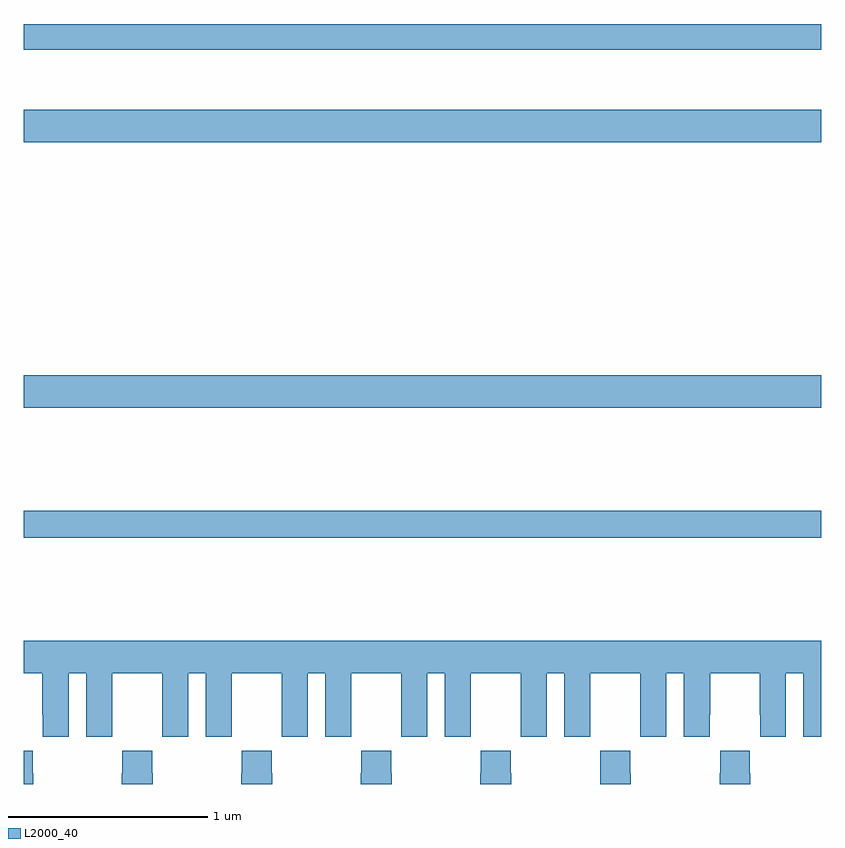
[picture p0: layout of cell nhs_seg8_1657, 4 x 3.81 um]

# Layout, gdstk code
import gdstk
lib = gdstk.Library(unit=1e-6, precision=1e-09)
def R(c, l, rs):  # rectangles x0, y0, x1, y1
    for r in rs: c.add(gdstk.rectangle(r[:2], r[2:], *l))
def P(c, l, *ps):  # polygons
    for p in ps: c.add(gdstk.Polygon(p, *l))
L2000_40 = (2000, 40)

nhs_seg8_1657 = lib.new_cell('nhs_seg8_1657')
R(nhs_seg8_1657, L2000_40, [(215,1161.136,219,1161.272), (215,1161.788,219,1161.952), (215,1163.12,219,1163.284), (215,1163.586,219,1163.714)])
P(nhs_seg8_1657, L2000_40, [(215,1160.456),(215.093,1160.456),(215.093,1160.248),(215.094,1160.248),(215.094,1160.136),(215.224,1160.136),(215.224,1160.456),(215.312,1160.456),(215.312,1160.136),(215.442,1160.136),(215.442,1160.248),(215.443,1160.248),(215.443,1160.456),(215.693,1160.456),(215.693,1160.248),(215.694,1160.248),(215.694,1160.136),(215.824,1160.136),(215.824,1160.456),(215.912,1160.456),(215.912,1160.136),(216.042,1160.136),(216.042,1160.248),(216.043,1160.248),(216.043,1160.456),(216.293,1160.456),(216.293,1160.248),(216.294,1160.248),(216.294,1160.136),(216.424,1160.136),(216.424,1160.456),(216.512,1160.456),(216.512,1160.136),(216.642,1160.136),(216.642,1160.248),(216.643,1160.248),(216.643,1160.456),(216.893,1160.456),(216.893,1160.248),(216.894,1160.248),(216.894,1160.136),(217.024,1160.136),(217.024,1160.456),(217.112,1160.456),(217.112,1160.136),(217.242,1160.136),(217.242,1160.248),(217.243,1160.248),(217.243,1160.456),(217.493,1160.456),(217.493,1160.248),(217.494,1160.248),(217.494,1160.136),(217.624,1160.136),(217.624,1160.456),(217.712,1160.456),(217.712,1160.136),(217.842,1160.136),(217.842,1160.248),(217.843,1160.248),(217.843,1160.456),(218.093,1160.456),(218.093,1160.248),(218.094,1160.248),(218.094,1160.136),(218.224,1160.136),(218.224,1160.456),(218.312,1160.456),(218.312,1160.136),(218.442,1160.136),(218.442,1160.248),(218.443,1160.248),(218.443,1160.456),(218.693,1160.456),(218.693,1160.248),(218.694,1160.248),(218.694,1160.136),(218.824,1160.136),(218.824,1160.456),(218.912,1160.456),(218.912,1160.136),(219,1160.136),(219,1160.62),(215,1160.62)],
  [(215.046,1159.955),(215.043,1159.955),(215.043,1160.068),(215,1160.068),(215,1159.9),(215.046,1159.9)],
  [(215.646,1159.955),(215.643,1159.955),(215.643,1160.068),(215.493,1160.068),(215.493,1159.955),(215.491,1159.955),(215.491,1159.9),(215.646,1159.9)],
  [(216.246,1159.955),(216.243,1159.955),(216.243,1160.068),(216.093,1160.068),(216.093,1159.955),(216.091,1159.955),(216.091,1159.9),(216.246,1159.9)],
  [(216.846,1159.955),(216.843,1159.955),(216.843,1160.068),(216.693,1160.068),(216.693,1159.955),(216.691,1159.955),(216.691,1159.9),(216.846,1159.9)],
  [(217.446,1159.955),(217.443,1159.955),(217.443,1160.068),(217.293,1160.068),(217.293,1159.955),(217.291,1159.955),(217.291,1159.9),(217.446,1159.9)],
  [(218.046,1159.955),(218.043,1159.955),(218.043,1160.068),(217.893,1160.068),(217.893,1159.955),(217.891,1159.955),(217.891,1159.9),(218.046,1159.9)],
  [(218.646,1159.955),(218.643,1159.955),(218.643,1160.068),(218.493,1160.068),(218.493,1159.955),(218.491,1159.955),(218.491,1159.9),(218.646,1159.9)])

lib.write_gds('nhs_seg8_1657.gds')
